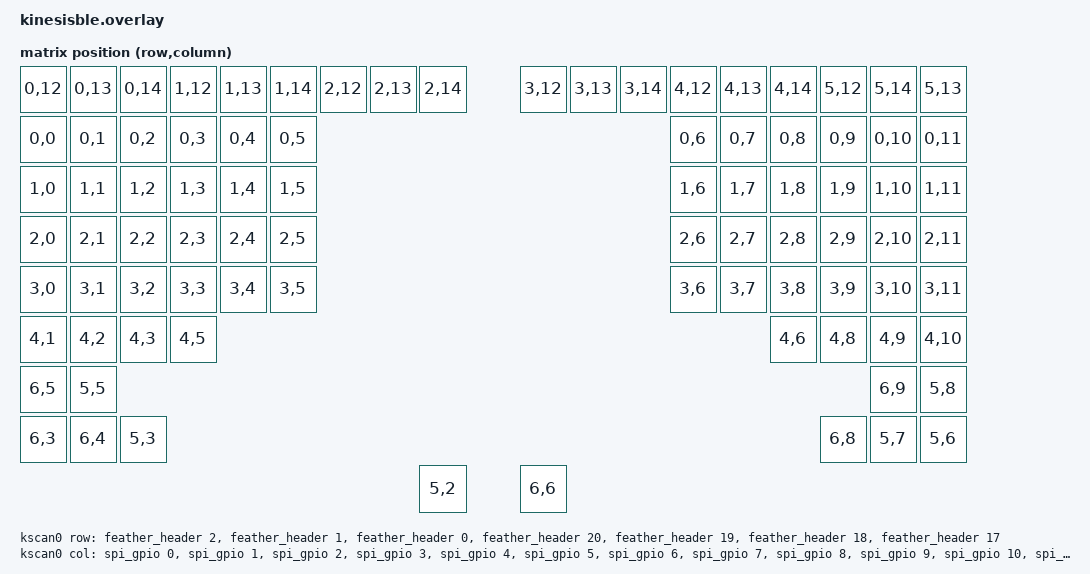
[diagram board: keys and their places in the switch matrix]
/*
 * Copyright (c) 2021 The ZMK Contributors
 *
 * SPDX-License-Identifier: MIT
 */

/*
 * See Humble Hacker blog about updated keyboard matrix:
 * http://humblehacker.com/blog/20100720/hacking-the-kinesis-contoured-keyboard/
 * https://web.archive.org/web/20201101000000%2A;/http://humblehacker.com/blog/20100720/hacking-the-kinesis-contoured-keyboard/
 * 
 *  Wiring
 *  All columns on MCP23s17: 
 *  col 0-7 -> GPA0-GPA7 
 *  col 8-15 -> GPB0-GPB6 
 * 
 *  Note the Kinesis BLE schematic has the labels on pins 19-25 wrong. See the picture at:
 *  https://learn.adafruit.com/introducing-the-adafruit-nrf52840-feather/pinouts
 *  for the labels used by the feather nexus nodes.  Also note the header differs
 *  between the nrf52840 and nrf52832 - look at the proper feather_connector.dtsi.
 *
 *  Rows are direct wire to GPIO:
 *  (schematic is 1 based)
 *  row       nrf52      feather nexus node
 *  row 0  -> P0.30  ->  2
 *  row 1  -> P0.05  ->  1
 *  row 2  -> P0.04  ->  0
 *  row 3  -> P1.09  ->  20
 *  row 4  -> P0.08  ->  19
 *  row 5  -> P0.06  ->  18
 *  row 6  -> P0.27  ->  17
 * 
 * Diodes are built into keyswitch.  Diode direction is row to column.
 * Note the MCP23s17 can not do pin GPIO_PULL_DOWN for GPIO_ACTIVE_HIGH 
 * polling.  So the polling direction is reversed by using col2row and 
 * GPIO_ACTIVE_LOW polling is used.
 *  
 * Kinesis LEDs 
 * led     nrf52      feather nexus node
 * CAPS -> P0.28  ->  3
 * NUM  -> P0.02  ->  4
 * SCR  -> P0.26  ->  16
 * KEY  -> P0.07  ->  15
 * Power -> P0.03 ->  5
 * 
 * MCP23s17
 * see column wiring above
 * signal  nrf52      feather nexus node
 * ^CS  -> P1.08  ->  14
 * SCK  -> P0.14  ->  6
 * MOSI -> P0.13  ->  7
 * MISO -> P0.15  ->  8
 * INTA -> N/C 
 * INTB -> N/C 
 * 
 * See https://docs.zephyrproject.org/2.3.0/guides/porting/shields.html#gpio-nexus-nodes 
 * for a description of how the feather_header nexus nodes used below work.
 */


#include <dt-bindings/zmk/matrix_transform.h>

/ {
    chosen {
        zmk,kscan = &kscan0;
        zmk,matrix_transform = &default_transform;
        zephyr,code-partition = &code_partition;
    };

    leds {
		compatible = "gpio-leds";
        ledu1: led_u1 {
            gpios = <&feather_header 3 GPIO_ACTIVE_HIGH>;
            label = "CAP LED";
            status = "okay";
        };
        ledu2: led_u2 {
            gpios = <&feather_header 4 GPIO_ACTIVE_HIGH>;
            label = "NUM LED";
            status = "okay";
        };
        ledu3: led_u3 {
            gpios = <&feather_header 16 GPIO_ACTIVE_HIGH>;
            label = "SCR LED";
            status = "okay";
        };
        ledu4: led_u4 {
            gpios = <&feather_header 15 GPIO_ACTIVE_HIGH>;
            label = "KEY LED";
            status = "okay";
        };
        led_pow: led_pow {
            gpios = <&feather_header 5 GPIO_ACTIVE_HIGH>;
            label = "BUTTON LED";
            status = "okay";
        };
    };

	pwmleds {
		compatible = "pwm-leds";
		pwm_ledu1: pwm_led_u1 {
			pwms = <&pwm0 28>;
			label = "PWM CAP LED";
		};
		pwm_ledu2: pwm_led_u2 {
			pwms = <&pwm0 2>;
			label = "PWM NUM LED";
		};
		pwm_ledu3: pwm_led_u3 {
			pwms = <&pwm0 26>;
			label = "PWM SCR LED";
		};
        pwm_ledu4: pwm_led_u4 {
			pwms = <&pwm0 7>;
			label = "KEY SCR LED";
		};
        pwm_led_pow: pwm_led_pow {
			pwms = <&pwm0 3>;
			label = "PWM BUTTON LED";
		};
    };

    kscan0: kscan {
        compatible = "zmk,kscan-gpio-matrix";
        label = "KSCAN";
        
        diode-direction = "col2row";
        row-gpios
            = <&feather_header 2  (GPIO_ACTIVE_LOW | GPIO_PULL_UP)>
            , <&feather_header 1  (GPIO_ACTIVE_LOW | GPIO_PULL_UP)>
            , <&feather_header 0  (GPIO_ACTIVE_LOW | GPIO_PULL_UP)>
            , <&feather_header 20 (GPIO_ACTIVE_LOW | GPIO_PULL_UP)>
            , <&feather_header 19 (GPIO_ACTIVE_LOW | GPIO_PULL_UP)>
            , <&feather_header 18 (GPIO_ACTIVE_LOW | GPIO_PULL_UP)>
            , <&feather_header 17 (GPIO_ACTIVE_LOW | GPIO_PULL_UP)>
            ;
        col-gpios
            = <&spi_gpio 0  GPIO_ACTIVE_LOW>
            , <&spi_gpio 1  GPIO_ACTIVE_LOW>
            , <&spi_gpio 2  GPIO_ACTIVE_LOW>
            , <&spi_gpio 3  GPIO_ACTIVE_LOW>
            , <&spi_gpio 4  GPIO_ACTIVE_LOW>
            , <&spi_gpio 5  GPIO_ACTIVE_LOW>
            , <&spi_gpio 6  GPIO_ACTIVE_LOW>
            , <&spi_gpio 7  GPIO_ACTIVE_LOW>
            , <&spi_gpio 8  GPIO_ACTIVE_LOW>
            , <&spi_gpio 9  GPIO_ACTIVE_LOW>
            , <&spi_gpio 10 GPIO_ACTIVE_LOW>
            , <&spi_gpio 11 GPIO_ACTIVE_LOW>
            , <&spi_gpio 12 GPIO_ACTIVE_LOW>
            , <&spi_gpio 13 GPIO_ACTIVE_LOW>
            , <&spi_gpio 14 GPIO_ACTIVE_LOW>
            , <&spi_gpio 15 GPIO_ACTIVE_LOW>
            ;
    };

vbatt {
		compatible = "zmk,battery-voltage-divider";
		label = "BATTERY";
		io-channels = <&adc 5>;
		output-ohms = <100000>;
		full-ohms = <(100000 + 100000)>;
	};

//
// Matrix layout from:
// https://web.archive.org/web/20201101000000*/http://humblehacker.com/blog/20100720/hacking-the-kinesis-contoured-keyboard/
//    	0	1	2	3	4	5	6	7	8	9	10	11	12	13	14
// 0    =	1	2	3	4	5	6	7	8	9	0	-	ESC	F1	F2
// 1	TB	Q	W	E	R	T	Y	U	I	O	P		F3	F4	F5
// 2	CP	A	S	D	F	G	H	J	K	L	;	‘	F6	F7	F8
// 3	LS	Z	X	C	V	B	N	M	,	.	/	RS	F9	F10	F11
// 4	X2	`	IN	LT		RT	UP		DN	[	]	X1	F12	PS	SL
// 5			SL1	SL2		SL5	SR4	SR3	SR6				PB	PG	KY
// 6				SL4	SL3	SL6	SR1		SR2	SR5				
// 
default_transform: keymap_transform_0 {
        compatible = "zmk,matrix-transform";
        columns = <15>;
        rows = <7>;
   map = <
   RC(0,12)  RC(0,13)  RC(0,14)  RC(1,12)  RC(1,13)  RC(1,14)  RC(2,12)  RC(2,13)  RC(2,14) RC(3,12)  RC(3,13)  RC(3,14)  RC(4,12)  RC(4,13)  RC(4,14)  RC(5,12)  RC(5,14)  RC(5,13)
   RC(0,0)  RC(0,1)  RC(0,2)  RC(0,3)  RC(0,4)  RC(0,5)             RC(0,6)  RC(0,7)  RC(0,8)  RC(0,9)  RC(0,10)  RC(0,11)
   RC(1,0)  RC(1,1)  RC(1,2)  RC(1,3)  RC(1,4)  RC(1,5)             RC(1,6)  RC(1,7)  RC(1,8)  RC(1,9)  RC(1,10)  RC(1,11)
   RC(2,0)  RC(2,1)  RC(2,2)  RC(2,3)  RC(2,4)  RC(2,5)             RC(2,6)  RC(2,7)  RC(2,8)  RC(2,9)  RC(2,10)  RC(2,11)
   RC(3,0)  RC(3,1)  RC(3,2)  RC(3,3)  RC(3,4)  RC(3,5)             RC(3,6)  RC(3,7)  RC(3,8)  RC(3,9)  RC(3,10)  RC(3,11)
                     RC(4,1)  RC(4,2)  RC(4,3)  RC(4,5)             RC(4,6)  RC(4,8)  RC(4,9)  RC(4,10)
                                       RC(6,5)  RC(5,5)             RC(6,9)  RC(5,8)
                              RC(6,3)  RC(6,4)  RC(5,3)             RC(6,8)  RC(5,7)  RC(5,6)
                                                RC(5,2)             RC(6,6)
        >;
    };
};

&pwm0 {
	status = "okay";
	ch0-pin = <28>;
	ch0-inverted;
	ch1-pin = <2>;
	ch1-inverted;
	ch2-pin = <26>;
	ch2-inverted;
	ch3-pin = <7>;
	ch3-inverted;
};

&adc {
	status = "okay";
};

/* MCP23s17 GPIO Expander */
&feather_spi {
    label="SPI1";
    status = "okay";
    cs-gpios = <&feather_header 14 1>;
    compatible = "nordic,nrf-spi";
    sck-pin = <14>;
    mosi-pin = <13>;
    miso-pin = <15>;

    spi_gpio: mcp23s17@0 {	
        status = "okay";
    	label="mcp23s17";
        compatible = "microchip,mcp23s17";
        gpio-controller;
        #gpio-cells = <2>;
        spi-max-frequency = <800000>;
        reg = <0>;
	    ngpios = <16>;
    };
};

&flash0 {
    /delete-node/ partitions;
};

&flash0 {
	partitions {
		compatible = "fixed-partitions";
		#address-cells = <1>;
		#size-cells = <1>;

		sd_partition: partition@0 {
			label = "softdevice";
			reg = <0x00000000 0x00026000>;
		};
		code_partition: partition@26000 {
			label = "code_partition";
			reg = <0x00026000 0x000c6000>;
		};

		/*
		 * The flash starting at 0x000ec000 and ending at
		 * 0x000f3fff is reserved for use by the application.
		 */

		/*
		 * Storage partition will be used by FCB/LittleFS/NVS
		 * if enabled.
		 */
		storage_partition: partition@ec000 {
			label = "storage";
			reg = <0x000ec000 0x00008000>;
		};

		boot_partition: partition@f4000 {
			label = "adafruit_boot";
			reg = <0x000f4000 0x0000c000>;
		};
	};
};
